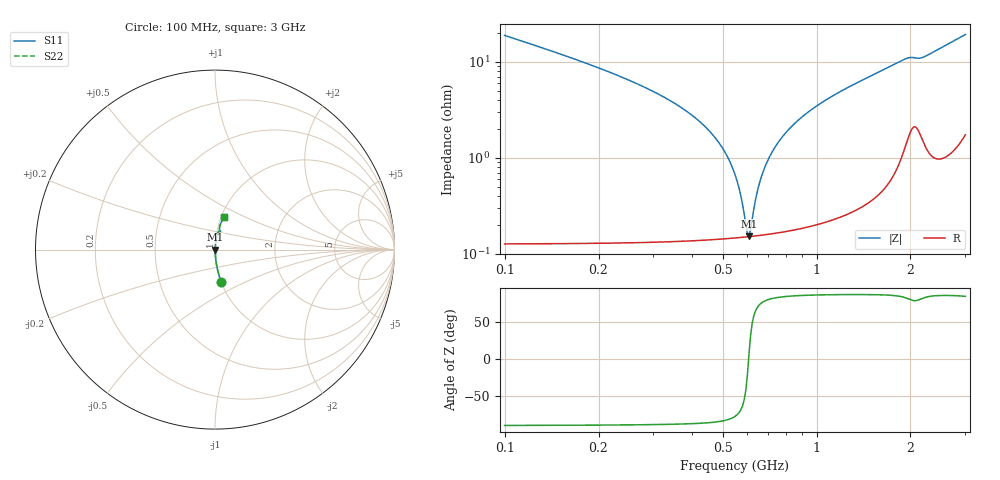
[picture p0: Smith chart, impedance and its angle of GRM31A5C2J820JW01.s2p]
!Murata Part Number: GRM31A5C2J820JW01
!These Parameters are Measured in Series Mode Connection
!Data Generated on Mar 30, 2021
!  o--ll--o
!Port1  Port2
!  o------o
!Operation Temp=25[degC], DC Bias Voltage=0[V]
!Freq. Start=100[MHz] Stop=3[GHz] 401[Steps]
# Hz S RI R 50
!Freq.(Hz) S11(Real) S11(Imag) S21(Real) S21(Imag) S12(Real) S12(Imag) S22(Real) S22(Imag)
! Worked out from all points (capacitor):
!   401 points, 100 MHz to 3 GHz, reference 50 ohm
!   read as one part in series: C = 81.9 pF near 114.5 MHz
!   lowest |Z| = 151 mohm at 607.5 MHz (marker M1)
!   series resonance near 605.7 MHz, so ESL is about 840 pH
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1e8  0.0356 -0.1819  0.9644 0.1819  0.9644 0.1819  0.0356 -0.1819
2.305e8  0.00644 -0.0716  0.9936 0.0716  0.9936 0.0716  0.00644 -0.0716
3.9e8  0.0022 -0.0292  0.9978 0.0292  0.9978 0.0292  0.0022 -0.0292
4.77e8  0.00164 -0.0155  0.9984 0.0155  0.9984 0.0155  0.00164 -0.0155
5.1325e8  0.00154 -0.0107  0.9985 0.0107  0.9985 0.0107  0.00154 -0.0107
5.4225e8  0.0015 -0.00714  0.9985 0.00714  0.9985 0.00714  0.0015 -0.00714
5.64e8  0.00148 -0.0046  0.9985 0.0046  0.9985 0.0046  0.00148 -0.0046
5.8575e8  0.00148 -0.00216  0.9985 0.00216  0.9985 0.00216  0.00148 -0.00216
6.0025e8  0.00149 -0.000579  0.9985 0.000579  0.9985 0.000579  0.00149 -0.000579
6.075e8  0.0015 0.000197  0.9985 -0.000197  0.9985 -0.000197  0.0015 0.000197
6.1475e8  0.0015 0.000963  0.9985 -0.000963  0.9985 -0.000963  0.0015 0.000963
6.4375e8  0.00154 0.00395  0.9985 -0.00395  0.9985 -0.00395  0.00154 0.00395
6.655e8  0.00159 0.00611  0.9984 -0.00611  0.9984 -0.00611  0.00159 0.00611
7.0175e8  0.00168 0.00958  0.9983 -0.00958  0.9983 -0.00958  0.00168 0.00958
7.4525e8  0.00182 0.0136  0.9982 -0.0136  0.9982 -0.0136  0.00182 0.0136
8.7575e8  0.0024 0.0246  0.9976 -0.0246  0.9976 -0.0246  0.0024 0.0246
1.0715e9  0.00371 0.0398  0.9963 -0.0398  0.9963 -0.0398  0.00371 0.0398
1.55e9  0.00949 0.0747  0.9905 -0.0747  0.9905 -0.0747  0.00949 0.0747
2.03575e9  0.0312 0.1035  0.9688 -0.1035  0.9688 -0.1035  0.0312 0.1035
2.1735e9  0.0269 0.1047  0.9731 -0.1047  0.9731 -0.1047  0.0269 0.1047
2.5215e9  0.0286 0.1357  0.9714 -0.1357  0.9714 -0.1357  0.0286 0.1357
3e9  0.051 0.1795  0.949 -0.1795  0.949 -0.1795  0.051 0.1795
